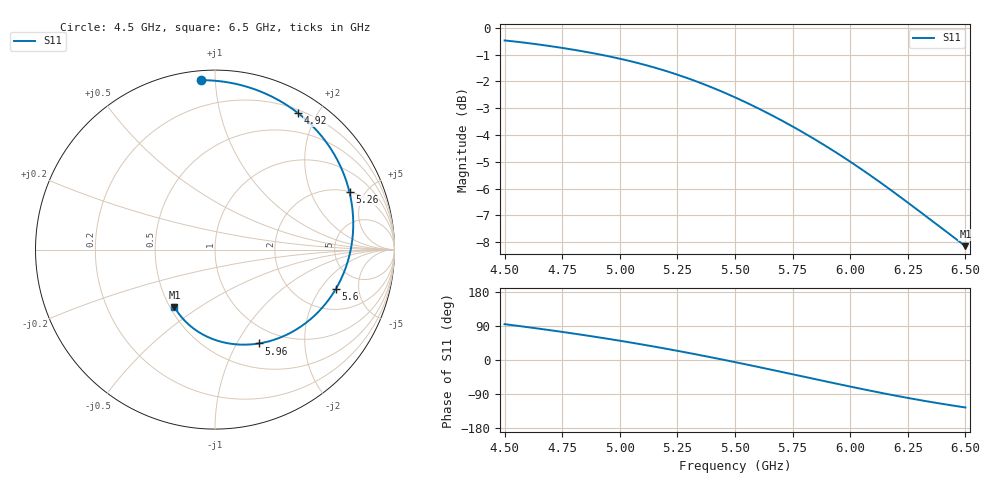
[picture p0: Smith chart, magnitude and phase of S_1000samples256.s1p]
! TOUCHSTONE file generated by CST MICROWAVE STUDIO
! Date and time: Thu Oct 27 13:13:24 2022
! Project name: L.cst
! Parameters = {Di=1.27; Epsilon_r=1.56; InnerDiameter=1.27; Length=2; Lf=10; Lg=60; OuterConductorThickness=0.2921; OuterDiameter=3.6; Wf=3; Wp=41.2; de=1.5; df=6.8; g=0.8; gx=4.62327; gy=4.10884; h=2.34; hf=1.524; px=14.3696; py=9.00521; w=9.7; wx=9.74631; wy=4.89637}
! Header version: 2018
! Port assignment regex: !\s*Touchstone port\s*([0-9]+)\s*=\s*(CST MWS port|CST DS port)\s*([0-9]+|Zmin|Zmax)\s*\(\"(.*)\"\)(\s*mode\s*([0-9]+))?.*
! Touchstone port assignment:
! Touchstone port 1 = CST MWS port 1 ("")
# GHz S DB R 50
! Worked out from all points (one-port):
!   101 points, 4.5 GHz to 6.5 GHz, reference 50 ohm
!   lowest |S11| = -8.2 dB at 6.5 GHz (marker M1), VSWR 2.29, Z = 26.4 - j19.9 ohm
!   |S11| at or under -10 dB: nowhere
!   S11 on the Smith chart (normalised r, x): 4.5 GHz: 0.05, +0.92; 4.92 GHz: 0.24, +1.76; 5.26 GHz: 2.05, +3.88; 5.6 GHz: 3.19, -2.83; 5.96 GHz: 0.79, -1.24; 6.5 GHz: 0.53, -0.40
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4.5  -0.48 94.6
4.58  -0.55 88.3
4.64  -0.62 83.4
4.76  -0.77 73.2
4.84  -0.88 66.1
4.92  -1.01 58.6
5  -1.16 50.8
5.08  -1.32 42.7
5.14  -1.46 36.3
5.2  -1.61 29.8
5.26  -1.78 23.1
5.32  -1.96 16.1
5.38  -2.16 9.0
5.44  -2.37 1.8
5.5  -2.60 -5.6
5.6  -3.01 -18.2
5.68  -3.36 -28.5
5.76  -3.73 -39.0
5.86  -4.24 -52.0
5.9  -4.45 -57.2
5.96  -4.77 -65.0
6  -5.00 -70.1
6.06  -5.35 -77.6
6.12  -5.71 -85.0
6.2  -6.21 -94.4
6.26  -6.59 -101.2
6.38  -7.37 -113.8
6.5  -8.15 -125.3
